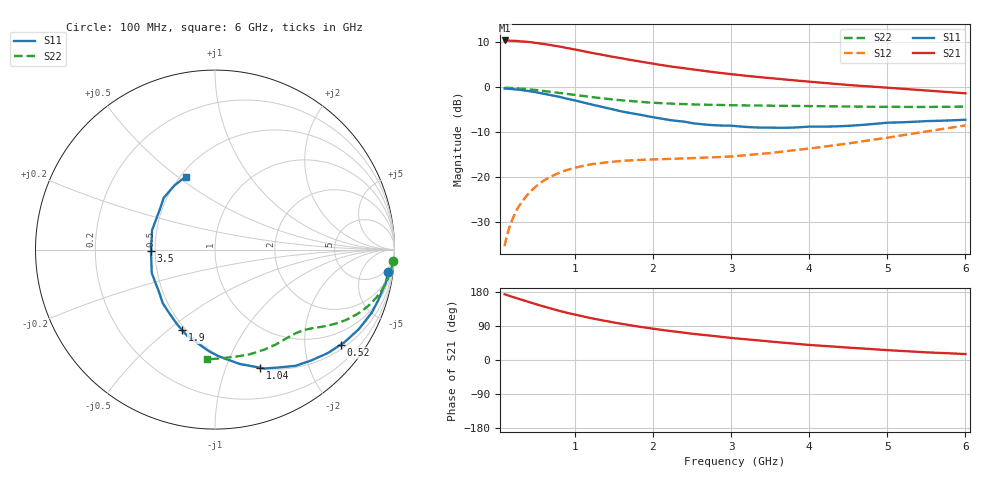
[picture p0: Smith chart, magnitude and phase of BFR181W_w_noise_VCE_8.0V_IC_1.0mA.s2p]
! Infineon Technologies  Discrete & RF Semiconductors
! BFR181W
! VCE =  8.0 V,  IC =  1.0 mA
! Common Emitter S-Parameters:  Nov 2015
# GHz  S  MA  R  50
!  f  S11  S21  S12  S22
! GHz  MAG  ANG  MAG  ANG  MAG  ANG  MAG  ANG
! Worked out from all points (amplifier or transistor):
!   192 points, 100 MHz to 6 GHz, reference 50 ohm
!   highest |S21| = 10.4 dB at 100 MHz (marker M1)
!   |S21| within 3 dB of that: start of sweep to 1.286 GHz
!   unconditionally stable (mu >= 1): 2.759 GHz to 3.933 GHz
!   at 440 MHz: K = 0.19, MSG = 16.5 dB, |S12| = -23.0 dB
!   at 1.7 GHz: K = 0.71, MSG = 11.2 dB, |S12| = -16.2 dB
!   at 6 GHz: K = 0.78, MSG = 3.6 dB, |S12| = -8.5 dB
!   lowest NFmin = 1.30 dB at 450 MHz
!   S11 on the Smith chart (normalised r, x): 100 MHz: 3, -15; 520 MHz: 0.62, -2.86; 1.04 GHz: 0.51, -1.32; 1.9 GHz: 0.48, -0.56; 3.5 GHz: 0.47, -0.01; 6 GHz: 0.53, +0.53
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0.1  0.9719 -7.5  3.329 173.4  0.0172 85.3  0.9934 -3.6
0.165  0.9654 -12.2  3.317 168.9  0.0285 82.1  0.989 -5.8
0.26  0.9477 -19.0  3.283 162.7  0.0442 77.8  0.9785 -9.1
0.4  0.9157 -29.0  3.212 153.3  0.0652 71.9  0.9566 -13.7
0.52  0.8785 -37.1  3.113 146.0  0.0817 66.9  0.9326 -17.2
0.6  0.8529 -42.5  3.052 141.1  0.092 64.1  0.9156 -19.5
0.66  0.8308 -46.3  2.989 137.6  0.0985 62.0  0.9016 -21.0
0.8  0.7875 -55.3  2.859 129.7  0.1126 57.7  0.8698 -24.4
0.9  0.7487 -61.2  2.741 124.5  0.1211 54.7  0.8475 -26.5
1.04  0.7035 -69.2  2.604 118.1  0.1305 51.2  0.817 -29.2
1.1  0.6824 -72.2  2.537 115.4  0.1339 49.9  0.8046 -30.2
1.22  0.6452 -78.8  2.419 109.8  0.1405 47.5  0.7808 -32.2
1.5  0.5677 -93.3  2.182 98.8  0.1497 43.2  0.732 -36.0
1.66  0.5283 -101.1  2.061 93.2  0.1537 41.9  0.7118 -37.6
1.9  0.4841 -112.2  1.899 85.7  0.1572 40.5  0.6848 -40.2
2.08  0.4529 -120.4  1.789 80.4  0.1591 40.2  0.6703 -42.0
2.5  0.4009 -138.8  1.587 69.2  0.1636 41.1  0.648 -45.8
3.1  0.369 -163.3  1.374 56.4  0.1738 45.9  0.6326 -52.4
3.5  0.3569 -178.4  1.269 48.6  0.1866 49.7  0.6277 -57.4
4.1  0.3663 159.7  1.14 38.4  0.2145 54.3  0.6191 -65.3
5.1  0.4075 132.4  0.98 24.9  0.2855 58.2  0.6069 -80.2
6  0.4377 112.0  0.86 15.7  0.3779 56.5  0.6131 -94.2
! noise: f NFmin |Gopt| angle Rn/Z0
0.45  1.3  0.7  18  0.5
0.9  1.4  0.6  39  0.52
1.8  1.85  0.4  81  0.47
